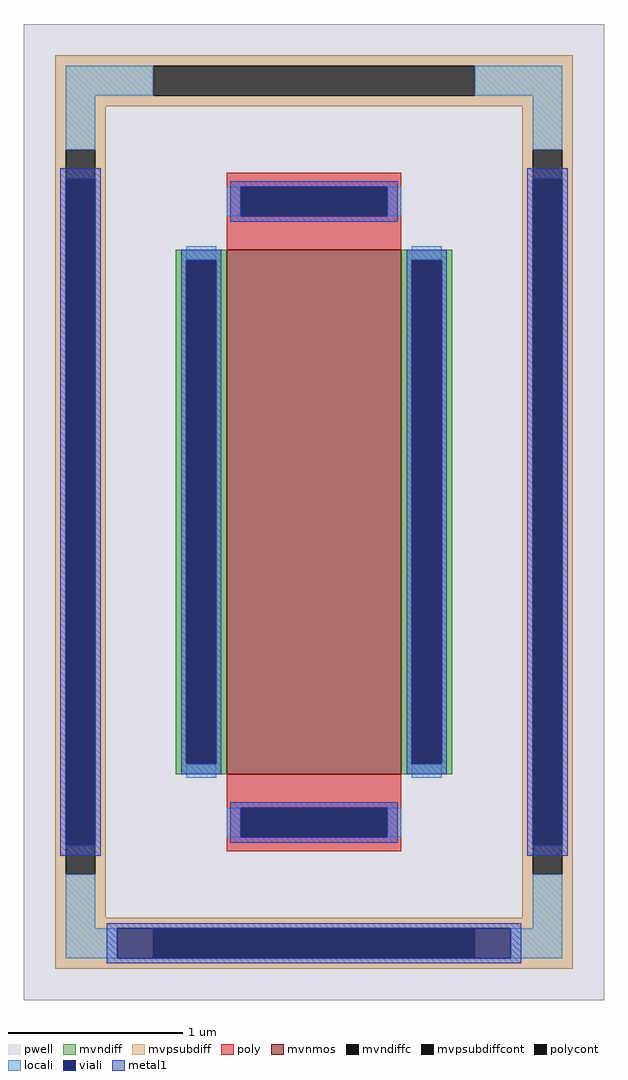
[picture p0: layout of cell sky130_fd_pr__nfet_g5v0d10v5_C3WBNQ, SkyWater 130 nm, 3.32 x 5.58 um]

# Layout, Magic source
magic
tech sky130A
magscale 1 2
<< pwell >>
rect -332 -558 332 558
<< mvnmos >>
rect -100 -300 100 300
<< mvndiff >>
rect -158 288 -100 300
rect -158 -288 -146 288
rect -112 -288 -100 288
rect -158 -300 -100 -288
rect 100 288 158 300
rect 100 -288 112 288
rect 146 -288 158 288
rect 100 -300 158 -288
<< mvndiffc >>
rect -146 -288 -112 288
rect 112 -288 146 288
<< mvpsubdiff >>
rect -296 510 296 522
rect -296 476 -184 510
rect 184 476 296 510
rect -296 464 296 476
rect -296 414 -238 464
rect -296 -414 -284 414
rect -250 -414 -238 414
rect 238 414 296 464
rect -296 -464 -238 -414
rect 238 -414 250 414
rect 284 -414 296 414
rect 238 -464 296 -414
rect -296 -476 296 -464
rect -296 -510 -184 -476
rect 184 -510 296 -476
rect -296 -522 296 -510
<< mvpsubdiffcont >>
rect -184 476 184 510
rect -284 -414 -250 414
rect 250 -414 284 414
rect -184 -510 184 -476
<< poly >>
rect -100 372 100 388
rect -100 338 -84 372
rect 84 338 100 372
rect -100 300 100 338
rect -100 -338 100 -300
rect -100 -372 -84 -338
rect 84 -372 100 -338
rect -100 -388 100 -372
<< polycont >>
rect -84 338 84 372
rect -84 -372 84 -338
<< locali >>
rect -284 476 -184 510
rect 184 476 284 510
rect -284 414 -250 476
rect 250 414 284 476
rect -100 338 -84 372
rect 84 338 100 372
rect -146 288 -112 304
rect -146 -304 -112 -288
rect 112 288 146 304
rect 112 -304 146 -288
rect -100 -372 -84 -338
rect 84 -372 100 -338
rect -284 -476 -250 -414
rect 250 -476 284 -414
rect -284 -510 -225 -476
rect 225 -510 284 -476
<< viali >>
rect -284 -381 -250 381
rect -84 338 84 372
rect -146 -288 -112 288
rect 112 -288 146 288
rect -84 -372 84 -338
rect 250 -381 284 381
rect -225 -510 -184 -476
rect -184 -510 184 -476
rect 184 -510 225 -476
<< metal1 >>
rect -290 381 -244 393
rect -290 -381 -284 381
rect -250 -381 -244 381
rect 244 381 290 393
rect -96 372 96 378
rect -96 338 -84 372
rect 84 338 96 372
rect -96 332 96 338
rect -152 288 -106 300
rect -152 -288 -146 288
rect -112 -288 -106 288
rect -152 -300 -106 -288
rect 106 288 152 300
rect 106 -288 112 288
rect 146 -288 152 288
rect 106 -300 152 -288
rect -96 -338 96 -332
rect -96 -372 -84 -338
rect 84 -372 96 -338
rect -96 -378 96 -372
rect -290 -393 -244 -381
rect 244 -381 250 381
rect 284 -381 290 381
rect 244 -393 290 -381
rect -237 -476 237 -470
rect -237 -510 -225 -476
rect 225 -510 237 -476
rect -237 -516 237 -510
<< properties >>
string FIXED_BBOX -263 -493 263 493
string gencell sky130_fd_pr__nfet_g5v0d10v5
string library sky130
string parameters w 3.0 l 1.0 m 1 nf 1 diffcov 100 polycov 100 guard 1 glc 1 grc 1 gtc 1 gbc 1 tbcov 100 rlcov 100 topc 1 botc 1 poverlap 0 doverlap 1 lmin 0.50 wmin 0.42 compatible {sky130_fd_pr__nfet_01v8 sky130_fd_pr__nfet_01v8_lvt  sky130_fd_bs_flash__special_sonosfet_star  sky130_fd_pr__nfet_g5v0d10v5 sky130_fd_pr__nfet_05v0_nvt  sky130_fd_pr__nfet_03v3_nvt} full_metal 1 viasrc 100 viadrn 100 viagate 100 viagb 90 viagr 80 viagl 80 viagt 0
<< end >>
